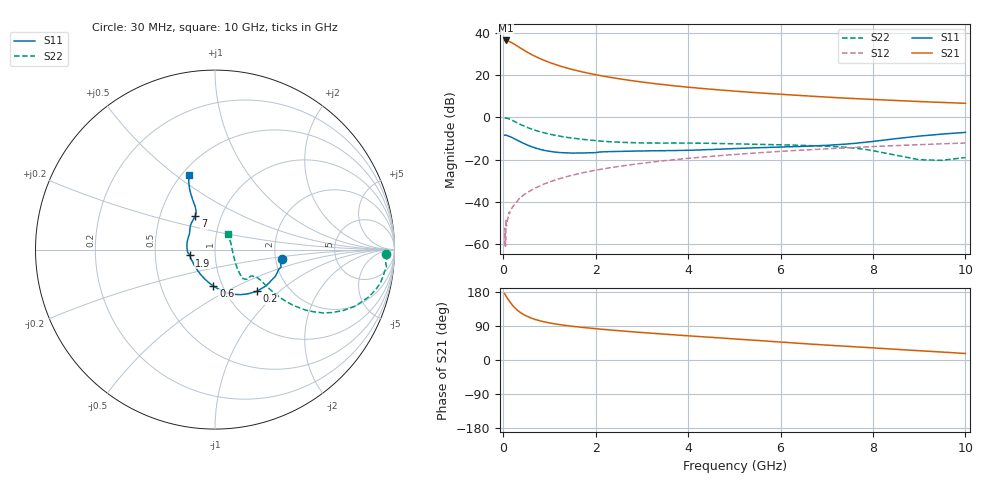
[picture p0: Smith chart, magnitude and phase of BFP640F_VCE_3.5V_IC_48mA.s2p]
! Infineon Technologies  Discrete & RF Semiconductors
! BFP640F
! VCE =  3.5 V,  IC =  48 mA
! Common Emitter S-Parameters:  Apr 2013
# GHz  S  MA  R  50
!  f  S11  S21  S12  S22
! GHz  MAG  ANG  MAG  ANG  MAG  ANG  MAG  ANG
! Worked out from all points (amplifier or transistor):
!   99 points, 30 MHz to 10 GHz, reference 50 ohm
!   highest |S21| = 36.3 dB at 50 MHz (marker M1)
!   |S21| within 3 dB of that: start of sweep to 330 MHz
!   unconditionally stable (mu >= 1): 1.45 GHz to end of sweep
!   at 350 MHz: K = 0.61, MSG = 35.7 dB, |S12| = -38.3 dB
!   at 3.5 GHz: K = 1.06, MAG = 16.4 dB, |S12| = -20.5 dB
!   at 10 GHz: K = 1.04, MAG = 8.2 dB, |S12| = -12.1 dB
!   S11 on the Smith chart (normalised r, x): 30 MHz: 2.17, -0.26; 200 MHz: 1.39, -0.72; 600 MHz: 0.90, -0.39; 1.9 GHz: 0.75, -0.05; 7 GHz: 0.75, +0.30; 10 GHz: 0.54, +0.56
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0.03  0.3774 -7.8  64.74 174.8  0.0009 87.3  0.9525 -1.5
0.05  0.3749 -12.6  65.41 171.0  0.0009 75.8  0.9541 -4.5
0.08  0.3704 -19.6  64.68 165.0  0.0032 76.1  0.9496 -8.7
0.11  0.3613 -27.0  62.91 159.3  0.0046 81.1  0.9311 -12.7
0.15  0.3483 -35.5  60.4 152.4  0.0062 77.8  0.8949 -17.2
0.2  0.329 -45.0  56.6 144.6  0.0075 79.6  0.8436 -21.9
0.25  0.3074 -53.2  52.59 137.9  0.0089 78.3  0.7909 -25.4
0.3  0.2891 -60.3  48.66 132.1  0.0103 75.3  0.7418 -28.2
0.4  0.2546 -72.7  41.53 123.0  0.0133 75.4  0.655 -32.0
0.5  0.2262 -82.8  35.66 116.2  0.0161 75.3  0.5874 -34.2
0.6  0.2045 -92.4  31 110.9  0.0187 74.7  0.5335 -35.5
0.8  0.1745 -108.4  24.28 103.3  0.024 75.5  0.4546 -36.4
1  0.1573 -122.7  19.81 97.9  0.0295 75.4  0.4004 -36.2
1.3  0.145 -141.0  15.44 92.0  0.0377 74.6  0.346 -35.1
1.7  0.1433 -159.7  11.9 86.2  0.0483 73.0  0.3025 -33.7
1.9  0.1454 -167.0  10.68 83.8  0.0536 72.1  0.2876 -33.5
3.4  0.1627 158.9  6.029 69.0  0.0919 64.4  0.2459 -38.7
5.1  0.1837 139.1  4.084 54.8  0.1344 55.3  0.2348 -44.6
6.7  0.2104 123.7  3.14 41.6  0.1725 46.0  0.2127 -46.3
7  0.2172 120.4  3.003 39.3  0.1794 44.3  0.2072 -45.7
8.5  0.313 114.0  2.494 28.2  0.2146 35.6  0.1267 -29.6
10  0.4399 109.2  2.14 17.2  0.2471 26.8  0.1123 50.9
